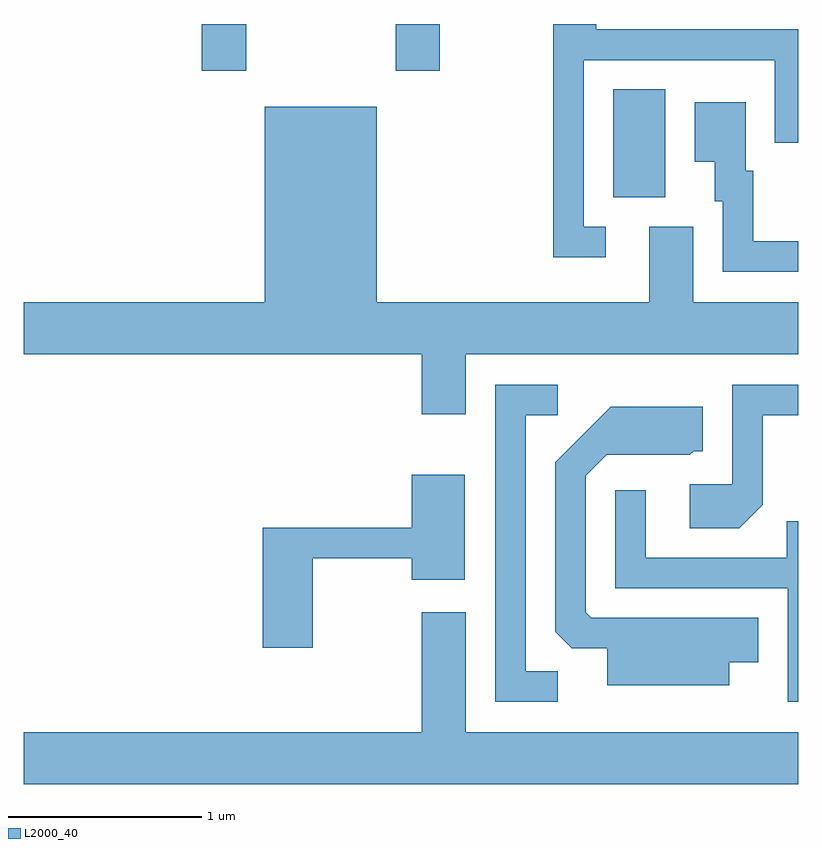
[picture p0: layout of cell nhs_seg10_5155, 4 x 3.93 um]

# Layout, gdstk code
import gdstk
lib = gdstk.Library(unit=1e-6, precision=1e-09)
def R(c, l, rs):  # rectangles x0, y0, x1, y1
    for r in rs: c.add(gdstk.rectangle(r[:2], r[2:], *l))
def P(c, l, *ps):  # polygons
    for p in ps: c.add(gdstk.Polygon(p, *l))
L2000_40 = (2000, 40)

nhs_seg10_5155 = lib.new_cell('nhs_seg10_5155')
R(nhs_seg10_5155, L2000_40, [(340.656,2103.626,340.924,2104.184), (338.531,2104.281,338.759,2104.522), (339.531,2104.281,339.759,2104.522)])
P(nhs_seg10_5155, L2000_40, [(340.618,2103.474),(340.504,2103.474),(340.504,2104.336),(341.491,2104.336),(341.491,2103.908),(341.611,2103.908),(341.611,2104.494),(340.569,2104.494),(340.569,2104.522),(340.346,2104.522),(340.346,2103.316),(340.618,2103.316)],
  [(341.611,2103.399),(341.379,2103.399),(341.379,2103.764),(341.339,2103.764),(341.339,2104.119),(341.076,2104.119),(341.076,2103.811),(341.181,2103.811),(341.181,2103.606),(341.221,2103.606),(341.221,2103.241),(341.611,2103.241)],
  [(339.894,2102.816),(341.611,2102.816),(341.611,2103.084),(341.069,2103.084),(341.069,2103.474),(340.841,2103.474),(340.841,2103.084),(339.434,2103.084),(339.434,2104.094),(338.856,2104.094),(338.856,2103.084),(337.611,2103.084),(337.611,2102.816),(339.666,2102.816),(339.666,2102.506),(339.894,2102.506)],
  [(341.429,2102.039),(341.429,2102.501),(341.611,2102.501),(341.611,2102.659),(341.271,2102.659),(341.271,2102.144),(341.051,2102.144),(341.051,2101.916),(341.307,2101.916)],
  [(340.368,2101.179),(340.204,2101.179),(340.204,2102.501),(340.368,2102.501),(340.368,2102.659),(340.046,2102.659),(340.046,2101.021),(340.368,2101.021)],
  [(341.254,2101.226),(341.404,2101.226),(341.404,2101.454),(340.542,2101.454),(340.514,2101.482),(340.514,2102.189),(340.622,2102.296),(341.052,2102.296),(341.072,2102.316),(341.119,2102.316),(341.119,2102.544),(340.644,2102.544),(340.356,2102.257),(340.356,2101.382),(340.442,2101.296),(340.626,2101.296),(340.626,2101.106),(341.254,2101.106)],
  [(339.104,2101.761),(339.616,2101.761),(339.616,2101.651),(339.889,2101.651),(339.889,2102.194),(339.616,2102.194),(339.616,2101.919),(338.846,2101.919),(338.846,2101.301),(339.104,2101.301)],
  [(341.611,2101.953),(341.551,2101.953),(341.551,2101.764),(340.824,2101.764),(340.824,2102.113),(340.666,2102.113),(340.666,2101.606),(341.556,2101.606),(341.556,2101.021),(341.611,2101.021)],
  [(339.666,2101.484),(339.666,2100.864),(337.611,2100.864),(337.611,2100.596),(341.611,2100.596),(341.611,2100.864),(339.894,2100.864),(339.894,2101.484)])

lib.write_gds('nhs_seg10_5155.gds')
